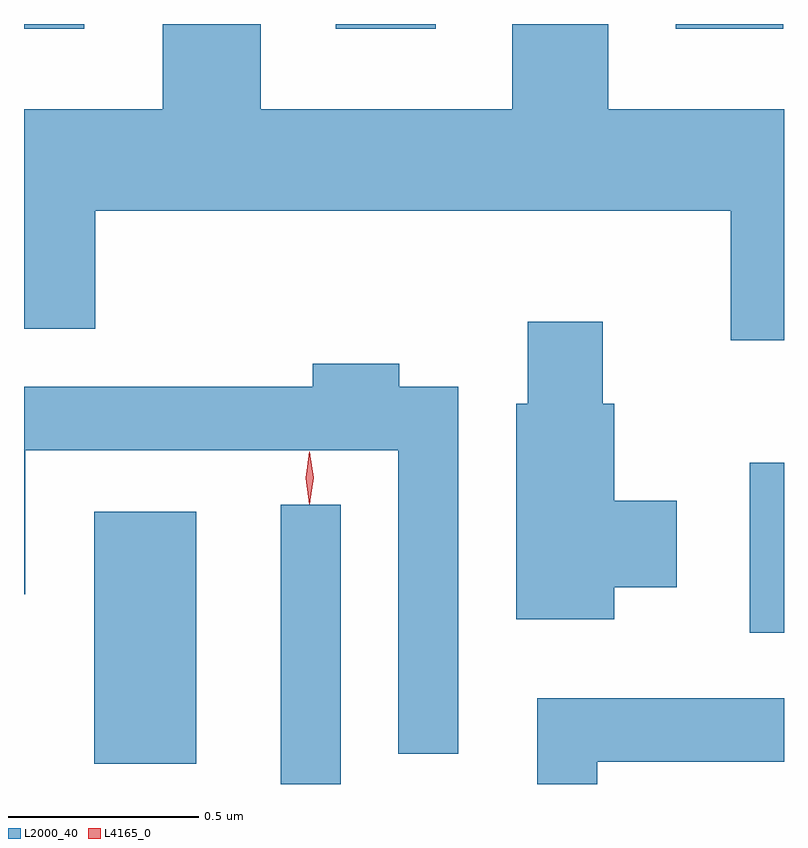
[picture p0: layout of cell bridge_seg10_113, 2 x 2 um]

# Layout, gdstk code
import gdstk
lib = gdstk.Library(unit=1e-6, precision=1e-09)
def R(c, l, rs):  # rectangles x0, y0, x1, y1
    for r in rs: c.add(gdstk.rectangle(r[:2], r[2:], *l))
def P(c, l, *ps):  # polygons
    for p in ps: c.add(gdstk.Polygon(p, *l))
L2000_40 = (2000, 40)
L4165_0 = (4165, 0)

bridge_seg10_113 = lib.new_cell('bridge_seg10_113')
R(bridge_seg10_113, L2000_40, [(1586.236,2172.348,1586.394,2173.083), (1585.746,2172.401,1586.014,2173.064), (1587.471,2172.746,1587.561,2173.194), (1585.561,2174.336,1585.719,2174.348), (1586.381,2174.336,1586.644,2174.348), (1587.276,2174.336,1587.559,2174.348)])
P(bridge_seg10_113, L2000_40, [(1587.561,2174.124),(1587.099,2174.124),(1587.099,2174.348),(1586.846,2174.348),(1586.846,2174.124),(1586.184,2174.124),(1586.184,2174.348),(1585.926,2174.348),(1585.926,2174.124),(1585.561,2174.124),(1585.561,2173.546),(1585.749,2173.546),(1585.749,2173.856),(1587.421,2173.856),(1587.421,2173.516),(1587.561,2173.516)],
  [(1587.114,2172.866),(1587.279,2172.866),(1587.279,2173.094),(1587.114,2173.094),(1587.114,2173.349),(1587.084,2173.349),(1587.084,2173.564),(1586.886,2173.564),(1586.886,2173.349),(1586.856,2173.349),(1586.856,2172.781),(1587.114,2172.781)],
  [(1586.704,2173.394),(1586.549,2173.394),(1586.549,2173.454),(1586.321,2173.454),(1586.321,2173.394),(1585.561,2173.394),(1585.561,2172.848),(1585.564,2172.848),(1585.564,2173.226),(1586.546,2173.226),(1586.546,2172.428),(1586.704,2172.428)],
  [(1587.069,2172.406),(1587.561,2172.406),(1587.561,2172.574),(1586.911,2172.574),(1586.911,2172.348),(1587.069,2172.348)])
P(bridge_seg10_113, L4165_0, [(1586.312,2173.084),(1586.312,2173.084),(1586.302,2173.153),(1586.312,2173.222),(1586.312,2173.223),(1586.313,2173.222),(1586.322,2173.153),(1586.313,2173.084)],
  [(1586.312,2173.087),(1586.303,2173.154),(1586.312,2173.22),(1586.313,2173.22),(1586.313,2173.22),(1586.323,2173.154),(1586.313,2173.087),(1586.313,2173.087)])

lib.write_gds('bridge_seg10_113.gds')
